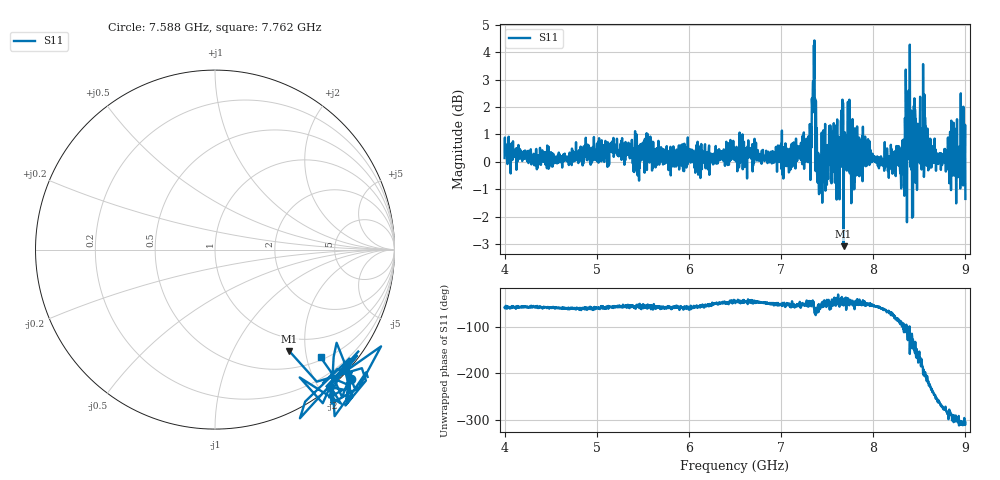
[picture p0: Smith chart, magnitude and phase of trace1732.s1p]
! Created with skrf 1.8.0 (http://scikit-rf.org).
# Hz S RI R 50.0
!freq ReS11 ImS11
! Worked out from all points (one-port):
!   1601 points, 4 GHz to 9 GHz, reference 50 ohm
!   lowest |S11| = -3.1 dB at 7.678 GHz (marker M1), VSWR 5.71, Z = 38.2 - j85.4 ohm
!   |S11| at or under -10 dB: nowhere
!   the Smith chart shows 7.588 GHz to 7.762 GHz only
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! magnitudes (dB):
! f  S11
! 4 GHz  0.1
! 4.625 GHz  -0.2
! 5.25 GHz  0.3
! 5.875 GHz  0.2
! 6.5 GHz  0.2
! 7.125 GHz  0.5
! 7.294 GHz  0.0
! 7.347 GHz  2.9
! 7.362 GHz  4.4
! 7.4 GHz  -0.5
! 7.422 GHz  -1.1
! 7.547 GHz  -0.8
! 7.609 GHz  1.5
! 7.65 GHz  1.5
! 7.678 GHz  -3.1
! 7.75 GHz  0.0
! 7.769 GHz  -0.9
! 7.822 GHz  0.1
! 8.316 GHz  0.5
! 8.334 GHz  -0.2
! 8.356 GHz  2.3
! 8.375 GHz  0.4
! 8.425 GHz  -0.2
! 8.553 GHz  -0.2
! 8.606 GHz  -0.3
! 8.722 GHz  0.1
! 8.972 GHz  0.5
! 9 GHz  -1.4
